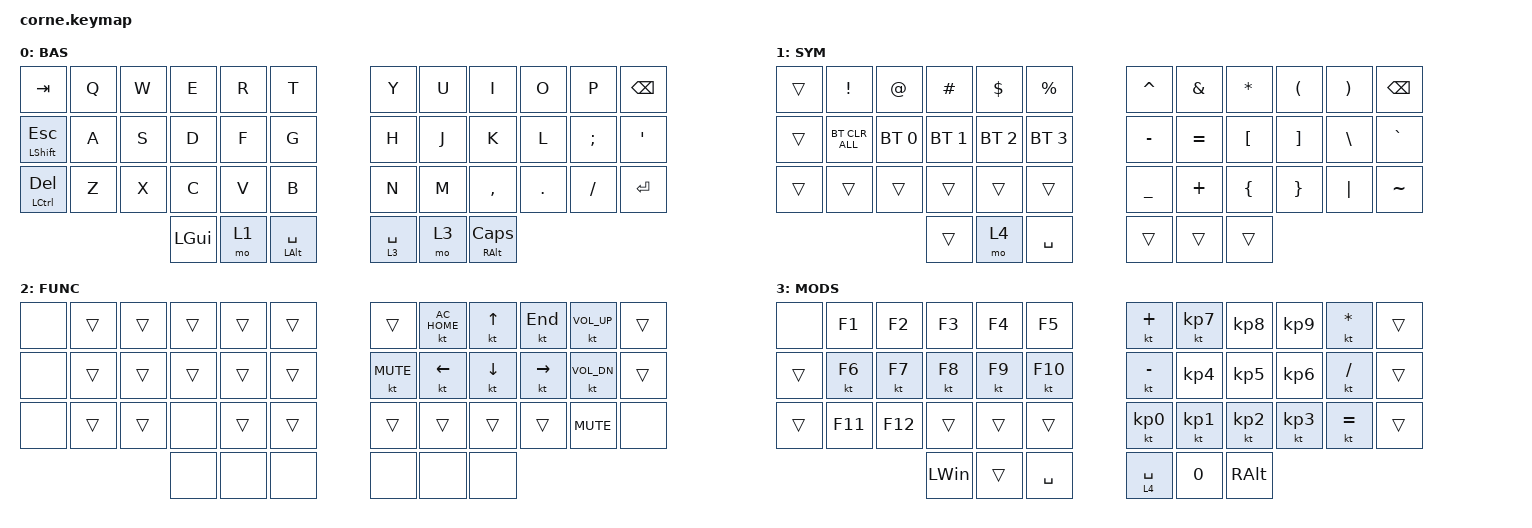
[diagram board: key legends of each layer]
/*
 * Copyright (c) 2020 The ZMK Contributors
 *
 * SPDX-License-Identifier: MIT
 */

#include <behaviors.dtsi>
#include <dt-bindings/zmk/bt.h>
#include <dt-bindings/zmk/keys.h>
#include <dt-bindings/zmk/keys.h>

/ {
    keymap {
        compatible = "zmk,keymap";

        BAS {
            // -----------------------------------------------------------------------------------------
            // |  TAB |  Q  |  W  |  E  |  R  |  T  |   |  Y  |  U   |  I  |  O  |  P  | BKSP |
            // | CTRL |  A  |  S  |  D  |  F  |  G  |   |  H  |  J   |  K  |  L  |  ;  |  '   |
            // | SHFT |  Z  |  X  |  C  |  V  |  B  |   |  N  |  M   |  ,  |  .  |  /  | ESC  |
            //                    | GUI | LWR | SPC |   | ENT | RSE  | ALT |

            bindings = <
&kp TAB                  &kp Q  &kp W  &kp E     &kp R  &kp T                 &kp Y        &kp U  &kp I                   &kp O    &kp P     &kp BSPC
&mt LEFT_SHIFT ESC       &kp A  &kp S  &kp D     &kp F  &kp G                 &kp H        &kp J  &kp K                   &kp L    &kp SEMI  &kp SQT
&mt LEFT_CONTROL DELETE  &kp Z  &kp X  &kp C     &kp V  &kp B                 &kp N        &kp M  &kp COMMA               &kp DOT  &kp FSLH  &kp ENTER
                                       &kp LGUI  &mo 1  &mt LEFT_ALT SPACE    &lt 3 SPACE  &mo 3  &mt RIGHT_ALT CAPSLOCK
            >;
        };

        SYM {
            // -----------------------------------------------------------------------------------------
            // |  TAB |  !  |  @  |  #  |  $  |  %  |   |  ^  |  &  |  *  |  (  |  )  | BKSP |
            // | CTRL |     |     |     |     |     |   |  -  |  =  |  [  |  ]  |  \  |  `   |
            // | SHFT |     |     |     |     |     |   |  _  |  +  |  {  |  }  | "|" |  ~   |
            //                    | GUI |     | SPC |   | ENT |     | ALT |

            bindings = <
&trans  &kp EXCLAMATION  &kp AT        &kp HASH      &kp DLLR      &kp PRCNT       &kp CARET  &kp AMPS   &kp ASTRK  &kp LPAR  &kp RPAR  &kp BSPC
&trans  &bt BT_CLR_ALL   &bt BT_SEL 0  &bt BT_SEL 1  &bt BT_SEL 2  &bt BT_SEL 3    &kp MINUS  &kp EQUAL  &kp LBKT   &kp RBKT  &kp BSLH  &kp GRAVE
&trans  &trans           &trans        &trans        &trans        &trans          &kp UNDER  &kp PLUS   &kp LBRC   &kp RBRC  &kp PIPE  &kp TILDE
                                       &trans        &mo 4         &kp SPACE       &trans     &trans     &trans
            >;
        };

        FUNC {
            // -----------------------------------------------------------------------------------------
            // |  TAB |  1  |  2  |  3  |  4  |  5  |   |  6  |  7  |  8  |  9  |  0  | BKSP |
            // | BTCLR| BT1 | BT2 | BT3 | BT4 | BT5 |   | LFT | DWN |  UP | RGT |     |      |
            // | SHFT |     |     |     |     |     |   |     |     |     |     |     |      |
            //                    | GUI |     | SPC |   | ENT |     | ALT |

            bindings = <
&none  &trans  &trans  &trans  &trans  &trans    &trans      &kt C_AC_HOME  &kt UP_ARROW    &kt END    &kt C_VOLUME_UP  &trans
&none  &trans  &trans  &trans  &trans  &trans    &kt K_MUTE  &kt LEFT       &kt DOWN_ARROW  &kt RIGHT  &kt C_VOL_DN     &trans
&none  &trans  &trans  &none   &trans  &trans    &trans      &trans         &trans          &trans     &kp C_MUTE       &none
                       &none   &none   &none     &none       &none          &none
            >;
        };

        MODS {
            bindings = <
&none   &kp F1   &kp F2   &kp F3        &kp F4  &kp F5       &kt PLUS         &kt KP_NUMBER_7  &kp KP_NUMBER_8  &kp KP_NUMBER_9  &kt ASTERISK  &trans
&trans  &kt F6   &kt F7   &kt F8        &kt F9  &kt F10      &kt MINUS        &kp KP_NUMBER_4  &kp KP_NUMBER_5  &kp KP_NUMBER_6  &kt SLASH     &trans
&trans  &kp F11  &kp F12  &trans        &trans  &trans       &kt KP_NUMBER_0  &kt KP_NUMBER_1  &kt KP_NUMBER_2  &kt KP_NUMBER_3  &kt EQUAL     &trans
                          &kp LEFT_WIN  &trans  &kp SPACE    &lt 4 SPACE      &kp N0           &kp RIGHT_ALT
            >;
        };
    };
};
